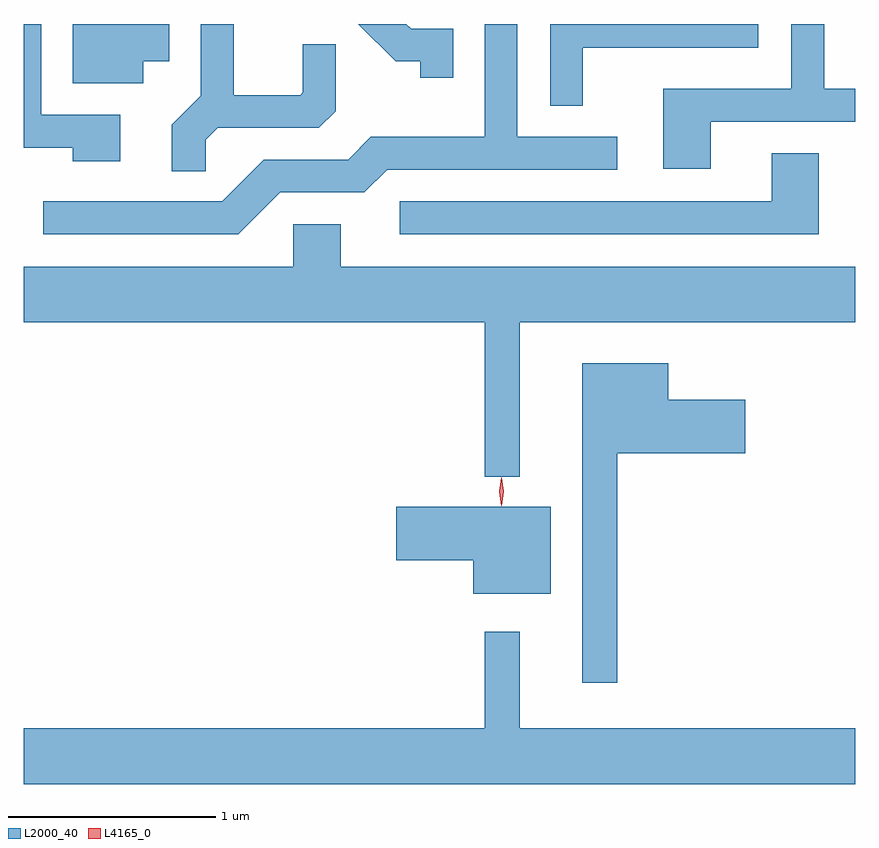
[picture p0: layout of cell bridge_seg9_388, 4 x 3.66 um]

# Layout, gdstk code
import gdstk
lib = gdstk.Library(unit=1e-6, precision=1e-09)
def P(c, l, *ps):  # polygons
    for p in ps: c.add(gdstk.Polygon(p, *l))
L2000_40 = (2000, 40)
L4165_0 = (4165, 0)

bridge_seg9_388 = lib.new_cell('bridge_seg9_388')
P(bridge_seg9_388, L2000_40, [(626.629,2066.331),(626.754,2066.331),(626.754,2066.511),(626.291,2066.511),(626.291,2066.226),(626.629,2066.226)],
  [(629.359,2066.041),(630.054,2066.041),(630.054,2066.199),(629.904,2066.199),(629.904,2066.511),(629.746,2066.511),(629.746,2066.199),(629.131,2066.199),(629.131,2065.816),(629.359,2065.816)],
  [(626.519,2066.074),(626.139,2066.074),(626.139,2066.511),(626.054,2066.511),(626.054,2065.916),(626.291,2065.916),(626.291,2065.851),(626.519,2065.851)],
  [(628.119,2066.489),(627.917,2066.489),(627.895,2066.511),(627.664,2066.511),(627.844,2066.331),(627.961,2066.331),(627.961,2066.253),(628.119,2066.253)],
  [(627.287,2065.701),(627.692,2065.701),(627.802,2065.811),(628.908,2065.811),(628.908,2065.969),(628.429,2065.969),(628.429,2066.511),(628.271,2066.511),(628.271,2065.969),(627.724,2065.969),(627.614,2065.859),(627.209,2065.859),(627.009,2065.659),(626.148,2065.659),(626.148,2065.501),(627.087,2065.501)],
  [(628.744,2066.396),(629.588,2066.396),(629.588,2066.511),(628.586,2066.511),(628.586,2066.117),(628.744,2066.117)],
  [(626.929,2065.954),(626.987,2066.011),(627.474,2066.011),(627.554,2066.092),(627.554,2066.413),(627.396,2066.413),(627.396,2066.182),(627.384,2066.169),(627.064,2066.169),(627.064,2066.511),(626.906,2066.511),(626.906,2066.167),(626.766,2066.027),(626.766,2065.803),(626.929,2065.803)],
  [(629.879,2065.889),(629.651,2065.889),(629.651,2065.659),(627.863,2065.659),(627.863,2065.501),(629.879,2065.501)],
  [(628.439,2065.076),(630.054,2065.076),(630.054,2065.344),(627.579,2065.344),(627.579,2065.549),(627.351,2065.549),(627.351,2065.344),(626.054,2065.344),(626.054,2065.076),(628.271,2065.076),(628.271,2064.333),(628.439,2064.333)],
  [(628.909,2064.446),(629.524,2064.446),(629.524,2064.704),(629.154,2064.704),(629.154,2064.879),(628.741,2064.879),(628.741,2063.343),(628.909,2063.343)],
  [(628.589,2064.189),(627.846,2064.189),(627.846,2063.931),(628.216,2063.931),(628.216,2063.771),(628.589,2063.771)],
  [(630.054,2063.124),(628.439,2063.124),(628.439,2063.588),(628.271,2063.588),(628.271,2063.124),(626.054,2063.124),(626.054,2062.856),(630.054,2062.856)])
P(bridge_seg9_388, L4165_0, [(628.352,2064.2),(628.352,2064.2),(628.342,2064.263),(628.352,2064.326),(628.352,2064.327),(628.353,2064.326),(628.362,2064.263),(628.353,2064.2)],
  [(628.352,2064.194),(628.352,2064.194),(628.342,2064.262),(628.352,2064.33),(628.352,2064.33),(628.353,2064.33),(628.362,2064.262),(628.353,2064.194)])

lib.write_gds('bridge_seg9_388.gds')
